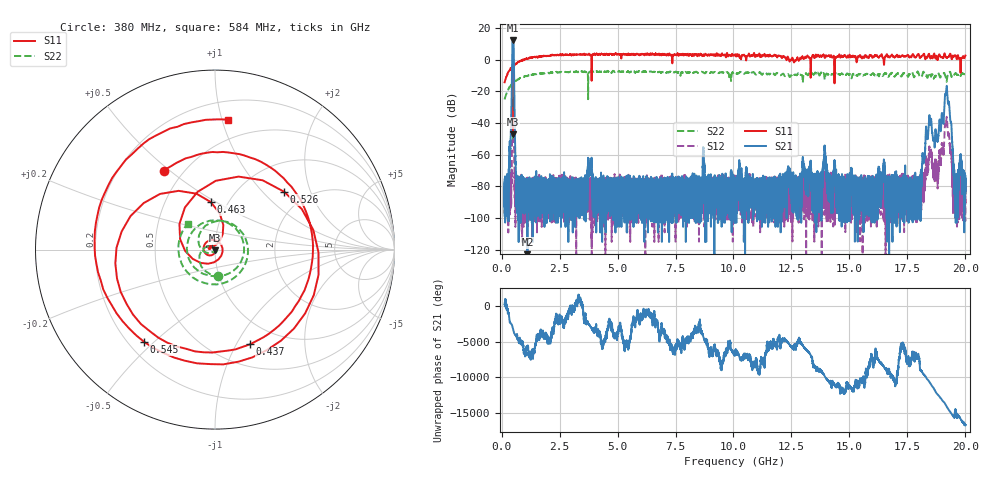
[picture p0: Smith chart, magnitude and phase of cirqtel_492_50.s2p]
!Created with skrf (http://scikit-rf.org).
# GHz S RI R 50.0
!freq ReS11 ImS11 ReS21 ImS21 ReS12 ImS12 ReS22 ImS22
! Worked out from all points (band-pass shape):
!   20013 points, 130 MHz to 20 GHz, reference 50 ohm
!   highest |S21| = 12.17 dB at 487 MHz (marker M1); lowest = -178.6 dB at 1.113 GHz (marker M2)
!   |S21| within 3 dB of the highest: 461.8 MHz to 521.9 MHz (60.07 MHz wide, 12.2 % of centre)
!   lowest |S11| = -47.1 dB at 490 MHz (marker M3), VSWR 1.01, Z = 50.2 - j0.399 ohm
!   |S11| at or under -10 dB: start of sweep to 232.2 MHz; 462.2 MHz to 521.6 MHz (59.42 MHz wide, 12.1 % of centre); 13.32662 GHz to 13.33104 GHz (4.419 MHz wide, 0.0332 % of centre) (the widest 3 of 5)
!   |S22| runs from -52.6 to -7.0 dB; largest |S21 - S12| = 4
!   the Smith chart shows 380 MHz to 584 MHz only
!   S11 on the Smith chart (normalised r, x): 380 MHz: 0.39, +0.47; 437 MHz: 0.74, -1.14; 463 MHz: 0.83, +0.47; 526 MHz: 1.56, +1.34; 545 MHz: 0.26, -0.47; 584 MHz: 0.34, +1.05
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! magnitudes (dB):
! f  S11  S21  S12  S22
! 130 MHz  -14.3  -78.1  -91.9  -25.1
! 380 MHz  -5.6  -54.2  -78.0  -16.7
! 437 MHz  -5.0  -20.7  -67.2  -15.7
! 463 MHz  -11.5  10.2  -35.2  -22.4
! 487 MHz  -34.3  12.2  -32.6  -50.8
! 490 MHz  -47.1  12.2  -32.6  -49.6
! 526 MHz  -6.0  5.0  -38.7  -16.4
! 545 MHz  -3.8  -20.9  -63.8  -14.4
! 584 MHz  -2.8  -54.1  -89.0  -13.6
! 708 MHz  -1.4  -76.5  -76.5  -12.5
! 1.113 GHz  0.4  -178.6  -81.7  -10.2
! 3.442 GHz  3.0  -79.1  -85.3  -7.5
! 6.754 GHz  3.2  -91.4  -96.1  -7.9
! 10.06 GHz  3.2  -91.0  -90.1  -7.8
! 13.38 GHz  1.5  -86.5  -78.1  -8.7
! 16.69 GHz  2.1  -73.7  -87.6  -10.7
! 17.99 GHz  3.2  -85.7  -96.3  -9.4
! 18.38 GHz  2.1  -49.5  -67.8  -10.9
! 18.75 GHz  2.5  -47.5  -65.9  -9.3
! 19.2 GHz  1.4  -16.8  -36.1  -13.5
! 19.57 GHz  2.8  -86.5  -99.9  -8.5
! 20 GHz  2.6  -77.2  -80.6  -9.7
